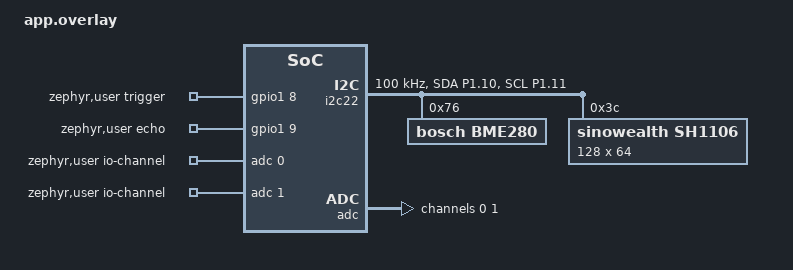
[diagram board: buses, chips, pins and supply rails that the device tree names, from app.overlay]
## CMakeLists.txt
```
# SPDX-License-Identifier: Apache-2.0

cmake_minimum_required(VERSION 3.20.0)
find_package(Zephyr REQUIRED HINTS $ENV{ZEPHYR_BASE})
project(firmware)

target_sources(app PRIVATE 
    src/main.c 
    src/sensors/light_sensor.c
    src/sensors/ultrasonic.c
    src/sensors/bme280.c
    src/ble/ble_freyr.c
    src/sensors/soil_sensor.c
)
```

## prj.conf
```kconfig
CONFIG_MAIN_STACK_SIZE=2048
CONFIG_GPIO=y
CONFIG_I2C=y
CONFIG_ADC=y
CONFIG_BT=y
CONFIG_BT_PERIPHERAL=y
CONFIG_BT_DEVICE_NAME="Freyr Node"
CONFIG_BT_DEVICE_APPEARANCE=832

CONFIG_BT_LL_SOFTDEVICE=y
CONFIG_BT_HCI=y

CONFIG_BT_MAX_CONN=2

CONFIG_DISPLAY=y

# Używamy uniwersalnego sterownika SSD1306 (obsługuje SH1106)
CONFIG_SSD1306=y
# Tekst i grafika
CONFIG_CHARACTER_FRAMEBUFFER=y
# Logi (usuwamy problematyczną linię, dodajemy podstawę)
CONFIG_LOG=y

CONFIG_HEAP_MEM_POOL_SIZE=4096
```

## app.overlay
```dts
/ {
    aliases {
        adc0 = &adc;
    };

    zephyr,user {
        io-channels = <&adc 0>, <&adc 1>;
        trigger-gpios = <&gpio1 8 GPIO_ACTIVE_HIGH>; /* P1.08 */
        echo-gpios = <&gpio1 9 GPIO_ACTIVE_HIGH>;    /* P1.09 */
    };
};

/* Definicja pinów dla I2C */
&pinctrl {
    i2c22_default: i2c22_default {
        group1 {
            psels = <NRF_PSEL(TWIM_SDA, 1, 10)>,
                    <NRF_PSEL(TWIM_SCL, 1, 11)>;
            bias-pull-up;
        };
    };

    i2c22_sleep: i2c22_sleep {
        group1 {
            psels = <NRF_PSEL(TWIM_SDA, 1, 10)>,
                    <NRF_PSEL(TWIM_SCL, 1, 11)>;
            low-power-enable;
        };
    };
};

/* Konfiguracja magistrali i czujnika BME280 */
&i2c22 {
    status = "okay";
    pinctrl-0 = <&i2c22_default>;
    pinctrl-1 = <&i2c22_sleep>;
    pinctrl-names = "default", "sleep";
    zephyr,concat-buf-size = <256>;

    bme280: bme280@76 {
        compatible = "bosch,bme280";
        reg = <0x76>;
    };

    sh1106: sh1106@3c {
        compatible = "sinowealth,sh1106";
        reg = <0x3c>;
        width = <128>;
        height = <64>;
        segment-offset = <2>; /* Magiczna linijka dla ekranów 1.3" */
        page-offset = <0>;
        display-offset = <0>;
        multiplex-ratio = <63>;
        segment-remap;
        com-invdir;
        prechargep = <0x22>;
        inversion-on;
    };

    clock-frequency = <I2C_BITRATE_STANDARD>;
};

&adc {
    status = "okay";
    #address-cells = <1>;
    #size-cells = <0>;

    channel@0 {
        reg = <0>;
        zephyr,gain = "ADC_GAIN_1_4";
        zephyr,reference = "ADC_REF_INTERNAL";
        zephyr,acquisition-time = <ADC_ACQ_TIME_DEFAULT>;
        zephyr,input-positive = <NRF_SAADC_AIN6>; 
        zephyr,resolution = <12>;
    };

    channel@1 {
        reg = <1>;
        zephyr,gain = "ADC_GAIN_1_4";
        zephyr,reference = "ADC_REF_INTERNAL";
        zephyr,acquisition-time = <ADC_ACQ_TIME_DEFAULT>;
        zephyr,input-positive = <NRF_SAADC_AIN7>; /* P1.05 - sprawdź na schemacie płytki! */
        zephyr,resolution = <12>;
    };
};
```

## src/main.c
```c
#include <zephyr/kernel.h>
#include <zephyr/drivers/i2c.h>
#include <stdio.h>

/* Moduły projektu */
#include "ble/ble_freyr.h"
#include "sensors/bme280.h"
#include "sensors/light_sensor.h" 
#include "sensors/soil_sensor.h"
#include "sensors/ultrasonic.h" /* Dodany czujnik HC-SR04 */

/* Biblioteka wyświetlacza */
#include <zephyr/display/cfb.h>

int main(void)
{
    printf("\n*** FREYR NODE - SMART DISPLAY DEMO ***\n");

    /* 1. Inicjalizacja BLE i Sensorów */
    if (ble_freyr_init() != 0) {
        printf("BLAD: Bluetooth!\n");
        return 0;
    }
    bme280_init();
    light_sensor_init();
    soil_sensor_init();
    ultrasonic_init();

    /* 2. Inicjalizacja Ekranu SH1106 */
    const struct device *display_dev = DEVICE_DT_GET(DT_NODELABEL(sh1106));
    if (!device_is_ready(display_dev)) {
        printf("BLAD: Ekran nie gotowy!\n");
    } else {
        cfb_framebuffer_init(display_dev);
        cfb_framebuffer_set_font(display_dev, 0); 
        cfb_framebuffer_clear(display_dev, true);
        /* Na starcie wyłączamy ekran, żeby czekał na ruch! */
        display_blanking_on(display_dev);
        /* HACKATHONOWY WYTRYCH: Bezposrednia komenda odwracania kolorow! */
        /* 0x00 = to jest komenda, 0xA6 = Tryb Normalny (czarne tlo, biale cyfry) */
        uint8_t color_cmd[] = {0x00, 0xA6}; 
        
        /* Wysylamy to bezposrednio na szyne i2c22 pod adres ekranu (0x3C) */
        i2c_write(DEVICE_DT_GET(DT_NODELABEL(i2c22)), color_cmd, 2, 0x3C);
    }

    char screen_buf[32]; 

    /* Zmienne przechowujące ostatnie pomiary (żeby ekran miał co wyświetlać między wysyłkami BLE) */
    int16_t last_temp = 0;
    uint16_t last_hum = 0;
    int8_t last_soil = 0;
    int32_t last_lux = 0;

    /* Dwa niezależne liczniki (Timery) */
    uint16_t ble_timer = 9999; /* Wysoka wartość = wymuś odczyt od razu na starcie */
    uint8_t screen_timer = 0;  /* Licznik sekund, przez które ekran ma się jeszcze świecić */

    while (1) {
        /* --- 1. RADAR (Błyskawiczna reakcja) --- */
        double dist = ultrasonic_get_distance_cm();
        
        if (dist > 0.0 && dist < 5.0) {
            screen_timer = 5; 
        }

        /* --- 2. ODCZYT SENSORÓW I WYSYŁKA BLE (Tylko co zadeklarowany interwał) --- */
        uint16_t interval = ble_freyr_get_sampling_interval();
        if (interval < 1) interval = 1;

        if (ble_timer >= interval) {
            /* Mierzymy najświeższe dane */
            bme280_read_for_ble(&last_temp, &last_hum);
            last_soil = soil_sensor_read_percentage();
            last_lux = calculate_lux(light_sensor_read_mv());

            /* Wypychamy do telefonu */
            ble_freyr_notify_temp(last_temp);
            ble_freyr_notify_humidity(last_hum);
            ble_freyr_notify_soil(last_soil);
            ble_freyr_notify_light(last_lux);

            printf("BLE Wysłano: T:%.2fC H:%.2f%% S:%d%% L:%dlux\n", 
                   last_temp/100.0, last_hum/100.0, last_soil, last_lux);
            
            ble_timer = 0; /* Zerujemy stoper BLE */
        }

        /* --- 3. LOGIKA EKRANU (Smart Display) --- */
        if (device_is_ready(display_dev)) {
            if (screen_timer > 0) {
                /* Budzimy ekran i wypisujemy biały tekst na czarnym tle */
                display_blanking_off(display_dev);
                cfb_framebuffer_clear(display_dev, false);

                snprintf(screen_buf, sizeof(screen_buf), "Temp: %.2fC", last_temp / 100.0);
                cfb_print(display_dev, screen_buf, 0, 0);

                snprintf(screen_buf, sizeof(screen_buf), "Wilg: %.2f%%", last_hum / 100.0);
                cfb_print(display_dev, screen_buf, 0, 15);

                snprintf(screen_buf, sizeof(screen_buf), "Gleba: %d%%", last_soil);
                cfb_print(display_dev, screen_buf, 0, 33);

                snprintf(screen_buf, sizeof(screen_buf), "Lux: %d", last_lux);
                cfb_print(display_dev, screen_buf, 0, 47);

                cfb_framebuffer_finalize(display_dev);
                
                screen_timer--; /* Zmniejszamy licznik świecenia */
            } else {
                /* Nikt nie stoi w pobliżu (timer zjechał do zera) -> Wyłączamy sprzętowo matrycę */
                display_blanking_on(display_dev);
            }
        }

        /* --- 4. TIMING GŁÓWNEJ PĘTLI --- */
        /* Pętla blokuje się dokładnie na 1 sekundę. Dzięki temu HC-SR04 skanuje otoczenie co sekundę! */
        k_msleep(1000);
        ble_timer++;
    }

    return 0;
}
```
